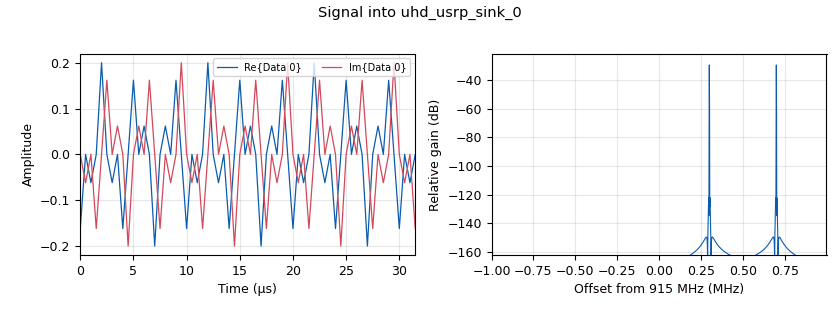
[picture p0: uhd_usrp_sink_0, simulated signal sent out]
<?xml version='1.0' encoding='utf-8'?>
<?grc format='1' created='3.7.13'?>
<flow_graph>
<block>
<key>options</key>
<param><key>id</key><value>top_block</value></param>
<param><key>generate_options</key><value>qt_gui</value></param>
</block>
<block>
<key>variable</key>
<param><key>id</key><value>amp</value></param>
<param><key>value</key><value>0.1</value></param>
</block>
<block>
<key>variable</key>
<param><key>id</key><value>bw</value></param>
<param><key>value</key><value>2e6</value></param>
</block>
<block>
<key>variable</key>
<param><key>id</key><value>center_freq</value></param>
<param><key>value</key><value>915e6</value></param>
</block>
<block>
<key>variable</key>
<param><key>id</key><value>fft_size</value></param>
<param><key>value</key><value>20</value></param>
</block>
<block>
<key>variable</key>
<param><key>id</key><value>power_gain</value></param>
<param><key>value</key><value>50</value></param>
</block>
<block>
<key>variable</key>
<param><key>id</key><value>samp_rate</value></param>
<param><key>value</key><value>2e6</value></param>
</block>
<block>
<key>variable</key>
<param><key>id</key><value>slave_signal_1</value></param>
<param><key>value</key><value>(0, 0, 0, 0, 0,0, 0, 0, 0, 0, 0, 0, 0, 1, 0, 0, 0,  1, 0, 0)</value></param>
</block>
<block>
<key>blocks_multiply_const_vxx</key>
<param><key>id</key><value>blocks_multiply_const_vxx_0</value></param>
<param><key>const</key><value>amp</value></param>
<param><key>type</key><value>complex</value></param>
</block>
<block>
<key>blocks_vector_to_stream</key>
<param><key>id</key><value>blocks_vector_to_stream_0_0_0</value></param>
<param><key>type</key><value>complex</value></param>
<param><key>num_items</key><value>fft_size</value></param>
</block>
<block>
<key>fft_vxx</key>
<param><key>id</key><value>reverse_fft_vxx_1</value></param>
<param><key>fft_size</key><value>fft_size</value></param>
<param><key>forward</key><value>False</value></param>
<param><key>type</key><value>complex</value></param>
<param><key>shift</key><value>True</value></param>
<param><key>window</key><value>()</value></param>
</block>
<block>
<key>uhd_usrp_sink</key>
<param><key>id</key><value>uhd_usrp_sink_0</value></param>
<param><key>ant0</key><value>TX/RX</value></param>
<param><key>bw0</key><value>bw</value></param>
<param><key>center_freq0</key><value>center_freq</value></param>
<param><key>norm_gain0</key><value>False</value></param>
<param><key>gain0</key><value>power_gain</value></param>
<param><key>clock_rate</key><value>0.0</value></param>
<param><key>dev_addr</key><value>"serial=30FDE5E"</value></param>
<param><key>dev_args</key><value>""</value></param>
<param><key>type</key><value>fc32</value></param>
<param><key>sd_spec0</key><value>A:A</value></param>
<param><key>samp_rate</key><value>samp_rate</value></param>
<param><key>hide_cmd_port</key><value>False</value></param>
<param><key>hide_lo_controls</key><value>True</value></param>
<param><key>sync</key><value></value></param>
<param><key>len_tag_name</key><value></value></param>
</block>
<block>
<key>blocks_vector_source_x</key>
<param><key>id</key><value>vector_source_tx</value></param>
<param><key>type</key><value>complex</value></param>
<param><key>repeat</key><value>True</value></param>
<param><key>vlen</key><value>fft_size</value></param>
<param><key>vector</key><value>slave_signal_1</value></param>
</block>
<connection><source_block_id>blocks_multiply_const_vxx_0</source_block_id><sink_block_id>uhd_usrp_sink_0</sink_block_id><source_key>0</source_key><sink_key>0</sink_key></connection>
<connection><source_block_id>blocks_vector_to_stream_0_0_0</source_block_id><sink_block_id>blocks_multiply_const_vxx_0</sink_block_id><source_key>0</source_key><sink_key>0</sink_key></connection>
<connection><source_block_id>reverse_fft_vxx_1</source_block_id><sink_block_id>blocks_vector_to_stream_0_0_0</sink_block_id><source_key>0</source_key><sink_key>0</sink_key></connection>
<connection><source_block_id>vector_source_tx</source_block_id><sink_block_id>reverse_fft_vxx_1</sink_block_id><source_key>0</source_key><sink_key>0</sink_key></connection>
</flow_graph>
